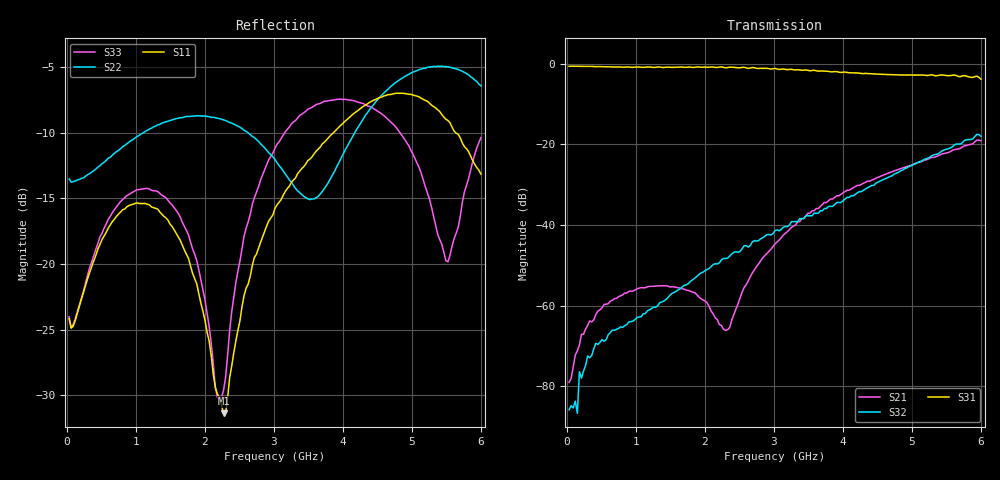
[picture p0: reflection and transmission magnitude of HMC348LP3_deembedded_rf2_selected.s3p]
!Hittite Microwave Corporation
!12 Elizabeth Drive
!Chelmsford, MA 01824
!Tel: 978-250-3343
!Fax: 978-250-3373
!Device: HMC348LP3, DC-2.5 GHz GaAs MMIC SPDT Non-Reflective CATV Switch in Leadless LP3 SMT Package
!Misc: Room Temp Vdd=+5V, RF2 on.
# MHZ S MA R 50
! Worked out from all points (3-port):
!   201 points, 30 MHz to 6 GHz, reference 50 ohm
!   strongest paths, dB at 30 MHz, 1.522 GHz, 3.015 GHz, 4.508 GHz, 6 GHz:
!     S31: -0.6, -0.9, -1.1, -2.6, -3.8
!     S32: -85.9, -57.0, -41.4, -29.4, -18.0
!     S21: -79.1, -55.4, -44.7, -28.2, -19.1
!   lowest |S11| = -31.4 dB at 2.269 GHz (marker M1), VSWR 1.06, Z = 49 + j2.46 ohm
!   |S11| at or under -10 dB: start of sweep to 3.862 GHz; 5.636 GHz to end of sweep
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30  0.062 -14.7  3.844e-05 18.4  0.932 -0.1
    0.0001115 46.7  0.211 -5.6  8.734e-05 -7.8
    0.932 -0.1  5.077e-05 6.6  0.063 -14.4
298.65  0.088 -64.9  0.0005951 82.1  0.927 -6.1
        0.0005667 85.0  0.219 -22.7  0.0002298 89.1
        0.928 -6.1  0.0002366 90.5  0.091 -62.9
895.65  0.167 -110.9  0.001508 80.1  0.915 -16.6
        0.001495 79.9  0.291 -54.0  0.0006228 110.2
        0.914 -16.7  0.0006245 112.6  0.184 -100.7
1791.15  0.098 -153.3  0.001556 79.7  0.918 -32.3
         0.001503 78.2  0.365 -77.5  0.001979 153.1
         0.91 -32.2  0.002003 153.8  0.121 -134.8
2268.75  0.027 111.3  0.000498 133.2  0.902 -41.9
         0.0005056 132.7  0.354 -87.9  0.00372 158.3
         0.904 -42.1  0.003839 156.5  0.033 102.6
3015  0.163 35.0  0.005991 -140.3  0.861 -56.7
      0.005814 -140.4  0.25 -116.3  0.00818 158.1
      0.878 -56.9  0.008512 160.0  0.276 32.0
3582.15  0.263 31.7  0.016 -152.4  0.808 -67.3
         0.015 -153.1  0.177 -179.1  0.013 156.0
         0.833 -68.2  0.014 155.9  0.4 16.8
4537.35  0.431 25.0  0.04 178.9  0.749 -85.4
         0.04 179.3  0.433 97.2  0.035 146.3
         0.744 -85.9  0.035 145.5  0.377 -1.0
5522.4  0.352 7.4  0.08 155.7  0.717 -107.7
        0.079 156.9  0.564 64.3  0.089 113.6
        0.713 -107.2  0.088 113.6  0.102 -102.2
6000  0.22 6.5  0.105 148.2  0.68 -123.0
      0.111 145.5  0.477 43.2  0.135 88.6
      0.646 -123.4  0.126 88.1  0.303 169.8
